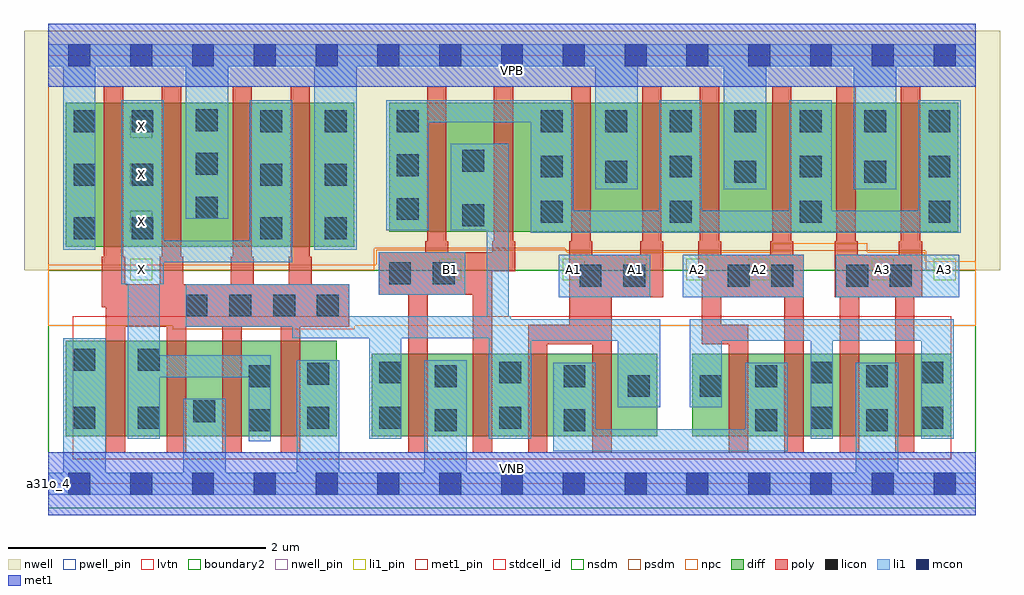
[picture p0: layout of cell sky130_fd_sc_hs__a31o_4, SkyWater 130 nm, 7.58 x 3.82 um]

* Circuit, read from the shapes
.subckt sky130_fd_sc_hs__a31o_4 A1 A2 A3 B1 VGND VNB VPB VPWR X
XM1 X n1 VGND VNB sky130_fd_pr__nfet_01v8_lvt w=0.74 l=0.15 m=4
XM2 VGND B1 n1 VNB sky130_fd_pr__nfet_01v8_lvt w=0.64 l=0.15 m=2
XM3 n2 A1 n1 VNB sky130_fd_pr__nfet_01v8_lvt w=0.64 l=0.15 m=2
XM4 n2 A2 n3 VNB sky130_fd_pr__nfet_01v8_lvt w=0.64 l=0.15 m=2
XM5 VGND A3 n3 VNB sky130_fd_pr__nfet_01v8_lvt w=0.64 l=0.15 m=2
XM6 X n1 VPWR VPB sky130_fd_pr__pfet_01v8 w=1.12 l=0.15 m=4
XM7 n1 B1 n4 VPB sky130_fd_pr__pfet_01v8 w=1 l=0.15 m=2
XM8 VPWR A1 n4 VPB sky130_fd_pr__pfet_01v8 w=1 l=0.15 m=2
XM9 VPWR A2 n4 VPB sky130_fd_pr__pfet_01v8 w=1 l=0.15 m=2
XM10 VPWR A3 n4 VPB sky130_fd_pr__pfet_01v8 w=1 l=0.15 m=2
.ends

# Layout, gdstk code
import gdstk
lib = gdstk.Library(unit=1e-6, precision=1e-09)
def R(c, l, rs):  # rectangles x0, y0, x1, y1
    for r in rs: c.add(gdstk.rectangle(r[:2], r[2:], *l))
def A(c, l, x, y, w, h, nx, ny, dx, dy):  # array of equal rectangles
    R(c, l, [(x+i*dx, y+j*dy, x+i*dx+w, y+j*dy+h) for i in range(nx) for j in range(ny)])
def P(c, l, *ps):  # polygons
    for p in ps: c.add(gdstk.Polygon(p, *l))
nwell_pin = (64, 16)
nwell = (64, 20)
diff = (65, 20)
poly = (66, 20)
licon = (66, 44)
li1_pin = (67, 16)
li1 = (67, 20)
mcon = (67, 44)
met1_pin = (68, 16)
met1 = (68, 20)
stdcell_id = (81, 4)
nsdm = (93, 44)
psdm = (94, 20)
npc = (95, 20)
pwell_pin = (122, 16)
lvtn = (125, 44)
boundary2 = (236, 0)

sky130_fd_sc_hs__a31o_4 = lib.new_cell('sky130_fd_sc_hs__a31o_4')
R(sky130_fd_sc_hs__a31o_4, nwell_pin, [(0,3.085,7.2,3.33)])
R(sky130_fd_sc_hs__a31o_4, nwell, [(-0.19,1.66,7.39,3.52)])
R(sky130_fd_sc_hs__a31o_4, diff, [(0.135,0.37,2.24,1.11), (2.51,0.37,4.73,1.01), (5,0.37,7.01,1.01), (0.135,1.84,2.375,2.96), (2.645,1.96,7.065,2.96)])
P(sky130_fd_sc_hs__a31o_4, poly, [(2.335,1.55),(2.045,1.55),(2.045,1.765),(2.03,1.765),(2.03,3.09),(1.88,3.09),(1.88,1.765),(1.865,1.765),(1.865,1.55),(1.595,1.55),(1.595,1.765),(1.58,1.765),(1.58,3.09),(1.43,3.09),(1.43,1.765),(1.415,1.765),(1.415,1.55),(1.045,1.55),(1.045,1.765),(1.03,1.765),(1.03,3.09),(0.88,3.09),(0.88,1.765),(0.865,1.765),(0.865,1.55),(0.595,1.55),(0.595,1.765),(0.58,1.765),(0.58,3.09),(0.43,3.09),(0.43,1.765),(0.415,1.765),(0.415,1.37),(0.445,1.37),(0.445,0.24),(0.595,0.24),(0.595,1.22),(0.92,1.22),(0.92,0.24),(1.07,0.24),(1.07,1.22),(1.35,1.22),(1.35,0.24),(1.5,0.24),(1.5,1.22),(1.805,1.22),(1.805,0.24),(1.955,0.24),(1.955,1.22),(2.335,1.22)],
  [(3.625,1.885),(3.61,1.885),(3.61,3.09),(3.46,3.09),(3.46,1.885),(3.445,1.885),(3.445,1.8),(3.105,1.8),(3.105,1.885),(3.09,1.885),(3.09,3.09),(2.94,3.09),(2.94,1.885),(2.925,1.885),(2.925,1.8),(2.565,1.8),(2.565,1.47),(2.795,1.47),(2.795,0.24),(2.945,0.24),(2.945,1.47),(3.295,1.47),(3.295,0.24),(3.445,0.24),(3.445,1.65),(3.625,1.65)],
  [(4.775,1.885),(4.76,1.885),(4.76,3.09),(4.61,3.09),(4.61,1.885),(4.595,1.885),(4.595,1.78),(4.225,1.78),(4.225,1.885),(4.21,1.885),(4.21,3.09),(4.06,3.09),(4.06,1.885),(4.045,1.885),(4.045,1.235),(3.725,1.235),(3.725,0.24),(3.875,0.24),(3.875,1.085),(4.225,1.085),(4.225,0.24),(4.375,0.24),(4.375,1.45),(4.775,1.45)],
  [(5.865,1.78),(5.785,1.78),(5.785,1.885),(5.77,1.885),(5.77,3.09),(5.62,3.09),(5.62,1.885),(5.605,1.885),(5.605,1.78),(5.225,1.78),(5.225,1.885),(5.21,1.885),(5.21,3.09),(5.06,3.09),(5.06,1.885),(5.045,1.885),(5.045,1.6),(5.075,1.6),(5.075,1.085),(5.285,1.085),(5.285,0.24),(5.435,0.24),(5.435,1.235),(5.225,1.235),(5.225,1.45),(5.715,1.45),(5.715,0.24),(5.865,0.24)],
  [(6.785,1.885),(6.77,1.885),(6.77,3.09),(6.62,3.09),(6.62,1.885),(6.605,1.885),(6.605,1.78),(6.285,1.78),(6.285,1.885),(6.27,1.885),(6.27,3.09),(6.12,3.09),(6.12,1.885),(6.105,1.885),(6.105,1.45),(6.145,1.45),(6.145,0.24),(6.295,0.24),(6.295,1.45),(6.575,1.45),(6.575,0.24),(6.725,0.24),(6.725,1.45),(6.785,1.45)])
A(sky130_fd_sc_hs__a31o_4, licon, 1.065, 1.3, 0.17, 0.17, 4, 1, 0.34, 0)
A(sky130_fd_sc_hs__a31o_4, licon, 0.195, 1.9, 0.17, 0.17, 1, 3, 0, 0.415)
A(sky130_fd_sc_hs__a31o_4, licon, 0.645, 1.9, 0.17, 0.17, 1, 3, 0, 0.415)
A(sky130_fd_sc_hs__a31o_4, licon, 1.645, 1.9, 0.17, 0.17, 1, 3, 0, 0.415)
A(sky130_fd_sc_hs__a31o_4, licon, 2.145, 1.9, 0.17, 0.17, 1, 3, 0, 0.415)
A(sky130_fd_sc_hs__a31o_4, licon, 2.705, 2.05, 0.17, 0.17, 1, 3, 0, 0.34)
A(sky130_fd_sc_hs__a31o_4, licon, 1.145, 2.06, 0.17, 0.17, 1, 3, 0, 0.34)
A(sky130_fd_sc_hs__a31o_4, licon, 3.825, 2.73, 0.17, 0.17, 4, 1, 0.5, 0)
A(sky130_fd_sc_hs__a31o_4, licon, 5.835, 2.73, 0.17, 0.17, 3, 1, 0.5, 0)
R(sky130_fd_sc_hs__a31o_4, licon, [(1.555,0.41,1.725,0.58), (3,0.41,3.17,0.58), (4,0.41,4.17,0.58), (5.49,0.41,5.66,0.58), (6.35,0.41,6.52,0.58), (0.195,0.43,0.365,0.6), (0.695,0.43,0.865,0.6), (2.01,0.43,2.18,0.6), (2.57,0.43,2.74,0.6), (3.5,0.43,3.67,0.6), (5.92,0.43,6.09,0.6), (6.78,0.43,6.95,0.6), (1.125,0.48,1.295,0.65), (4.5,0.675,4.67,0.845), (5.06,0.675,5.23,0.845), (1.555,0.75,1.725,0.92), (3,0.75,3.17,0.92), (4,0.75,4.17,0.92), (5.49,0.75,5.66,0.92), (6.35,0.75,6.52,0.92), (2.01,0.77,2.18,0.94), (2.57,0.78,2.74,0.95), (3.5,0.78,3.67,0.95), (5.92,0.78,6.09,0.95), (6.78,0.78,6.95,0.95), (0.195,0.88,0.365,1.05), (0.695,0.88,0.865,1.05), (4.125,1.53,4.295,1.7), (4.465,1.53,4.635,1.7), (5.275,1.53,5.445,1.7), (5.615,1.53,5.785,1.7), (6.195,1.53,6.365,1.7), (6.535,1.53,6.705,1.7), (2.645,1.55,2.815,1.72), (2.985,1.55,3.155,1.72), (3.215,2,3.385,2.17), (3.825,2.03,3.995,2.2), (4.825,2.03,4.995,2.2), (5.835,2.03,6.005,2.2), (6.835,2.03,7.005,2.2), (4.325,2.34,4.495,2.51), (5.325,2.34,5.495,2.51), (6.335,2.34,6.505,2.51), (3.825,2.38,3.995,2.55), (4.825,2.38,4.995,2.55), (5.835,2.38,6.005,2.55), (6.835,2.38,7.005,2.55), (3.215,2.425,3.385,2.595)])
A(sky130_fd_sc_hs__a31o_4, li1_pin, 0.635, 1.58, 0.17, 0.17, 1, 4, 0, 0.37)
A(sky130_fd_sc_hs__a31o_4, li1_pin, 3.995, 1.58, 0.17, 0.17, 4, 1, 0.48, 0)
R(sky130_fd_sc_hs__a31o_4, li1_pin, [(3.035,1.58,3.205,1.75), (6.395,1.58,6.565,1.75), (6.875,1.58,7.045,1.75)])
R(sky130_fd_sc_hs__a31o_4, li1, [(3.965,1.45,4.675,1.78), (4.925,1.45,5.865,1.78), (6.115,1.45,7.075,1.78), (2.565,1.47,3.235,1.8)])
P(sky130_fd_sc_hs__a31o_4, li1, [(0,-0.085),(0,0.085),(0.115,0.085),(0.115,1.13),(0.445,1.13),(0.445,0.085),(1.045,0.085),(1.045,0.66),(1.375,0.66),(1.375,0.085),(1.93,0.085),(1.93,0.96),(2.26,0.96),(2.26,0.085),(2.92,0.085),(2.92,0.96),(3.25,0.96),(3.25,0.085),(6.27,0.085),(6.27,0.94),(6.6,0.94),(6.6,0.085),(7.2,0.085),(7.2,-0.085)],
  [(0,3.245),(0,3.415),(7.2,3.415),(7.2,3.245),(6.585,3.245),(6.585,2.29),(6.255,2.29),(6.255,3.245),(5.575,3.245),(5.575,2.29),(5.245,2.29),(5.245,3.245),(4.575,3.245),(4.575,2.29),(4.245,2.29),(4.245,3.245),(2.395,3.245),(2.395,1.82),(2.065,1.82),(2.065,3.245),(1.395,3.245),(1.395,2.06),(1.065,2.06),(1.065,3.245),(0.365,3.245),(0.365,1.82),(0.115,1.82),(0.115,3.245)],
  [(0.565,1.55),(0.565,2.98),(0.895,2.98),(0.895,1.89),(1.565,1.89),(1.565,2.98),(1.895,2.98),(1.895,1.72),(0.895,1.72),(0.895,1.55),(0.865,1.55),(0.865,1),(1.725,1),(1.725,0.33),(1.555,0.33),(1.555,0.83),(0.865,0.83),(0.865,0.35),(0.615,0.35),(0.615,1.55)],
  [(6.085,2.12),(6.755,2.12),(6.755,2.98),(7.085,2.98),(7.085,1.95),(3.745,1.95),(3.745,2.81),(2.955,2.81),(2.955,1.97),(2.625,1.97),(2.625,2.98),(4.075,2.98),(4.075,2.12),(4.745,2.12),(4.745,2.98),(5.075,2.98),(5.075,2.12),(5.755,2.12),(5.755,2.98),(6.085,2.98)],
  [(4.25,0.425),(5.41,0.425),(5.41,0.94),(5.74,0.94),(5.74,0.255),(3.92,0.255),(3.92,0.94),(4.25,0.94)],
  [(4.75,1.28),(3.59,1.28),(3.59,1.3),(3.575,1.3),(3.575,2.64),(3.125,2.64),(3.125,1.97),(3.405,1.97),(3.405,1.3),(2.335,1.3),(2.335,1.55),(1.065,1.55),(1.065,1.22),(1.895,1.22),(1.895,1.13),(2.49,1.13),(2.49,0.35),(2.74,0.35),(2.74,1.13),(3.42,1.13),(3.42,0.35),(3.75,0.35),(3.75,1.11),(4.42,1.11),(4.42,0.595),(4.75,0.595)],
  [(4.98,1.28),(7.03,1.28),(7.03,0.35),(6.78,0.35),(6.78,1.11),(6.09,1.11),(6.09,0.35),(5.92,0.35),(5.92,1.11),(5.23,1.11),(5.23,0.595),(4.98,0.595)])
A(sky130_fd_sc_hs__a31o_4, mcon, 0.155, -0.085, 0.17, 0.17, 15, 2, 0.48, 3.33)
R(sky130_fd_sc_hs__a31o_4, met1_pin, [(0,0,7.2,0.245), (0,3.085,7.2,3.33)])
R(sky130_fd_sc_hs__a31o_4, met1, [(0,-0.245,7.2,0.245), (0,3.085,7.2,3.575)])
R(sky130_fd_sc_hs__a31o_4, stdcell_id, [(0,0,7.2,3.33)])
R(sky130_fd_sc_hs__a31o_4, nsdm, [(0,-0.19,7.2,1.66)])
P(sky130_fd_sc_hs__a31o_4, psdm, [(7.2,3.52),(0,3.52),(0,1.66),(2.53,1.66),(2.53,1.83),(4.015,1.83),(4.015,1.81),(6.815,1.81),(6.815,1.66),(7.2,1.66)])
P(sky130_fd_sc_hs__a31o_4, npc, [(7.2,1.73),(6.805,1.73),(6.805,1.8),(6.36,1.8),(6.36,1.87),(5.62,1.87),(5.62,1.8),(4.025,1.8),(4.025,1.82),(2.545,1.82),(2.545,1.7),(0,1.7),(0,1.23),(0.965,1.23),(0.965,1.2),(2.38,1.2),(2.38,1.23),(7.2,1.23)])
R(sky130_fd_sc_hs__a31o_4, pwell_pin, [(0,0,7.2,0.245)])
R(sky130_fd_sc_hs__a31o_4, lvtn, [(0.19,0.19,7.01,1.3)])
R(sky130_fd_sc_hs__a31o_4, boundary2, [(0,0,7.2,3.33)])
sky130_fd_sc_hs__a31o_4.add(gdstk.Label('a31o_4', (0,0), layer=83, texttype=44))
sky130_fd_sc_hs__a31o_4.add(gdstk.Label('VNB', (3.6,0.123), layer=64, texttype=59))
sky130_fd_sc_hs__a31o_4.add(gdstk.Label('VPB', (3.6,3.208), layer=64, texttype=5))
sky130_fd_sc_hs__a31o_4.add(gdstk.Label('VPWR', (3.6,3.208), layer=68, texttype=5))
sky130_fd_sc_hs__a31o_4.add(gdstk.Label('VGND', (3.6,0.123), layer=68, texttype=5))
sky130_fd_sc_hs__a31o_4.add(gdstk.Label('A1', (4.08,1.665), layer=67, texttype=5))
sky130_fd_sc_hs__a31o_4.add(gdstk.Label('A1', (4.56,1.665), layer=67, texttype=5))
sky130_fd_sc_hs__a31o_4.add(gdstk.Label('A2', (5.04,1.665), layer=67, texttype=5))
sky130_fd_sc_hs__a31o_4.add(gdstk.Label('A2', (5.52,1.665), layer=67, texttype=5))
sky130_fd_sc_hs__a31o_4.add(gdstk.Label('A3', (6.48,1.665), layer=67, texttype=5))
sky130_fd_sc_hs__a31o_4.add(gdstk.Label('A3', (6.96,1.665), layer=67, texttype=5))
sky130_fd_sc_hs__a31o_4.add(gdstk.Label('B1', (3.12,1.665), layer=67, texttype=5))
sky130_fd_sc_hs__a31o_4.add(gdstk.Label('X', (0.72,1.665), layer=67, texttype=5))
sky130_fd_sc_hs__a31o_4.add(gdstk.Label('X', (0.72,2.035), layer=67, texttype=5))
sky130_fd_sc_hs__a31o_4.add(gdstk.Label('X', (0.72,2.405), layer=67, texttype=5))
sky130_fd_sc_hs__a31o_4.add(gdstk.Label('X', (0.72,2.775), layer=67, texttype=5))

lib.write_gds('sky130_fd_sc_hs__a31o_4.gds')
